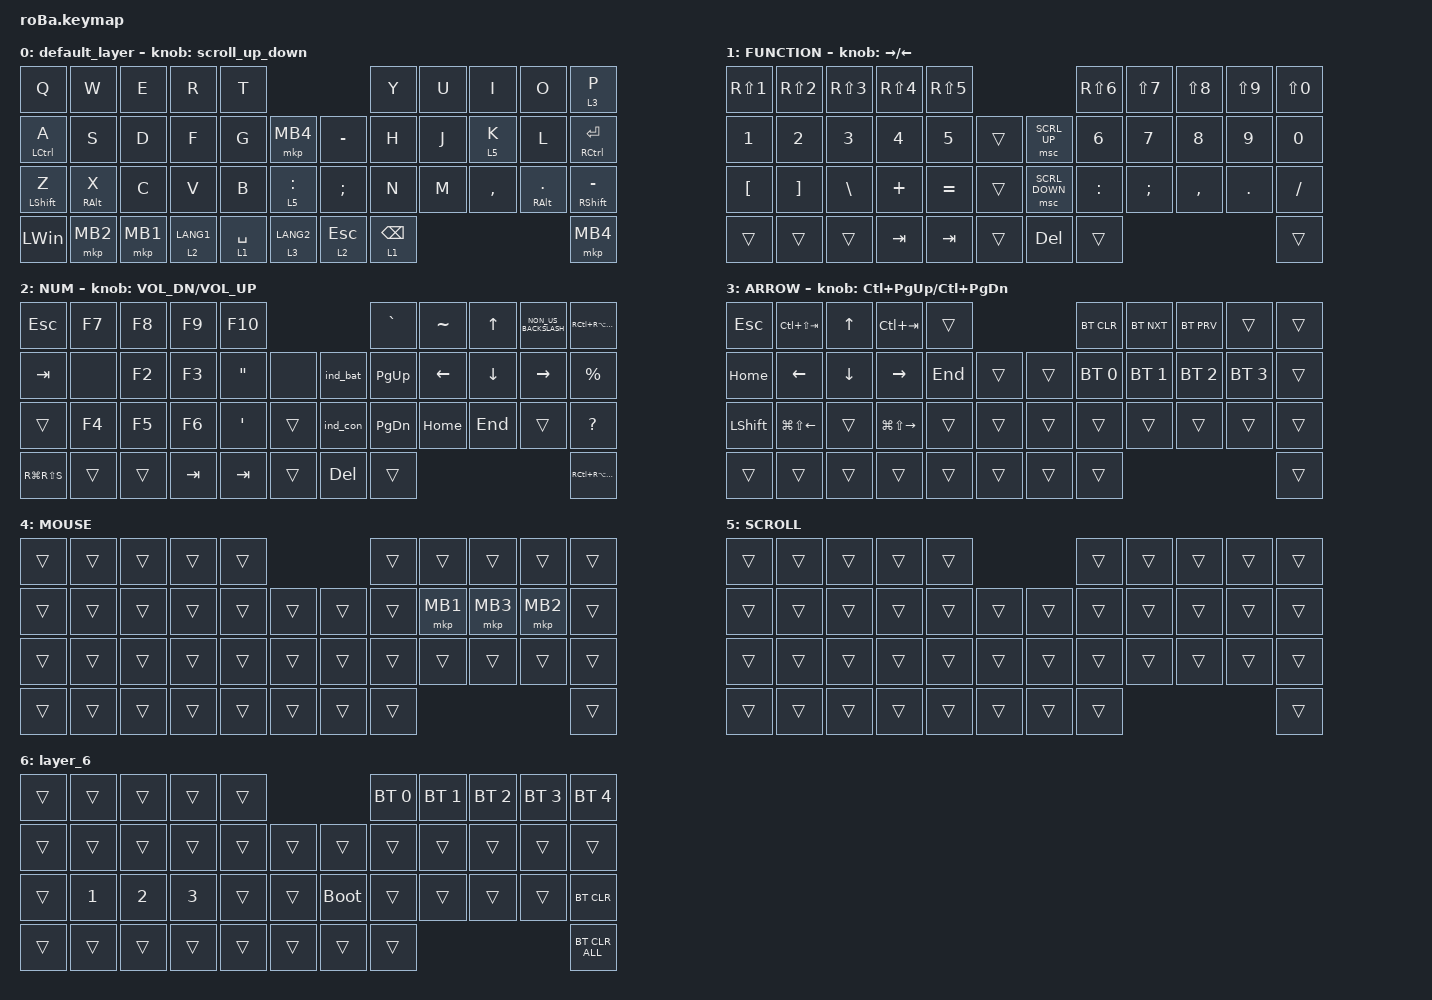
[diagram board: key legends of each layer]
#include <behaviors/rgbled_widget.dtsi>
#include <behaviors.dtsi>
#include <dt-bindings/zmk/bt.h>
#include <dt-bindings/zmk/keys.h>
#include <dt-bindings/zmk/pointing.h>

//#define MOUSE 4

#define SCROLL 5
#define NUM 6
#define ZMK_POINTING_DEFAULT_SCRL_VAL 100

&mt {
    flavor = "tap-preferred";
    quick-tap-ms = <0>;
    tapping-term-ms = <300>;
};

&lt {
};

/ {
    macros {
        to_layer_0: to_layer_0 {
            compatible = "zmk,behavior-macro-one-param";
            #binding-cells = <1>;
            bindings = <&to 0 &macro_param_1to1 &kp MACRO_PLACEHOLDER>;
            label = "TO_LAYER_0";
        };
    };

    behaviors {
        lt_to_layer_0: lt_to_layer_0 {
            compatible = "zmk,behavior-hold-tap";
            label = "LAYER_TAP_TO_0";
            bindings = <&mo>, <&to_layer_0>;

            #binding-cells = <2>;
            tapping-term-ms = <200>;
        };

        scroll_up_down: behavior_sensor_rotate_mouse_wheel_up_down {
            compatible = "zmk,behavior-sensor-rotate";
            #sensor-binding-cells = <0>;
            bindings = <&msc SCRL_DOWN>, <&msc SCRL_UP>;

            // 追加: スクロールのタップ時間を設定 (20ms)

            tap-ms = <20>;
        };
    };

    combos {
        compatible = "zmk,combos";

        mb1 {
            bindings = <&mkp MB1>;
            key-positions = <18 19>;
        };

        mb2 {
            bindings = <&mkp MB2>;
            key-positions = <19 20>;
        };

        mb4 {
            bindings = <&mkp MB4>;
            key-positions = <30 31>;
        };
    };

    keymap {
        compatible = "zmk,keymap";

        default_layer {
            bindings = <
&kp Q             &kp W            &kp E     &kp R        &kp T                                        &kp Y       &kp U  &kp I      &kp O                 &lt 3 P
&mt LCTRL A       &kp S            &kp D     &kp F        &kp G        &mkp MB4         &kp MINUS      &kp H       &kp J  &lt 5 K    &kp L                 &mt RCTRL ENTER
&mt LEFT_SHIFT Z  &mt RIGHT_ALT X  &kp C     &kp V        &kp B        &lt 5 COLON      &kp SEMICOLON  &kp N       &kp M  &kp COMMA  &mt RIGHT_ALT PERIOD  &mt RIGHT_SHIFT MINUS
&kp LEFT_WIN      &mkp MB2         &mkp MB1  &lt 2 LANG1  &lt 1 SPACE  &lt 3 LANG2      &lt 2 ESC      &lt 1 BSPC                                          &mkp MB4
            >;

            sensor-bindings = <&scroll_up_down>;
        };

        FUNCTION {
            bindings = <
&kp RS(NUMBER_1)  &kp RS(NUMBER_2)   &kp RS(NUMBER_3)  &kp RS(NUMBER_4)  &kp RS(N5)                              &kp RS(NUMBER_6)  &kp LS(N7)     &kp LS(N8)  &kp LS(N9)  &kp LS(N0)
&kp NUMBER_1      &kp NUMBER_2       &kp NUMBER_3      &kp NUMBER_4      &kp N5      &trans      &msc SCRL_UP    &kp NUMBER_6      &kp N7         &kp N8      &kp N9      &kp N0
&kp LEFT_BRACKET  &kp RIGHT_BRACKET  &kp BACKSLASH     &kp PLUS          &kp EQUAL   &trans      &msc SCRL_DOWN  &kp COLON         &kp SEMICOLON  &kp COMMA   &kp PERIOD  &kp SLASH
&trans            &trans             &trans            &kp TAB           &kp TAB     &trans      &kp DELETE      &trans                                                   &trans
            >;

            sensor-bindings = <&inc_dec_kp RIGHT_ARROW LEFT_ARROW>;
        };

        NUM {
            bindings = <
&kp ESC        &kp F7  &kp F8  &kp F9   &kp F10                                    &kp GRAVE      &kp TILDE       &kp UP_ARROW    &kp NON_US_BACKSLASH  &kp RC(RA(END))
&kp TAB        &none   &kp F2  &kp F3   &kp DOUBLE_QUOTES  &none       &ind_bat    &kp PG_UP      &kp LEFT_ARROW  &kp DOWN_ARROW  &kp RIGHT_ARROW       &kp PERCENT
&trans         &kp F4  &kp F5  &kp F6   &kp SQT            &trans      &ind_con    &kp PAGE_DOWN  &kp HOME        &kp END         &trans                &kp QUESTION
&kp RG(RS(S))  &trans  &trans  &kp TAB  &kp TAB            &trans      &kp DELETE  &trans                                                               &kp RC(RA(DELETE))
            >;

            sensor-bindings = <&inc_dec_kp C_VOL_DN C_VOL_UP>;
        };

        ARROW {
            bindings = <
&kp ESCAPE      &kp LC(LS(TAB))         &kp UP_ARROW    &kp LC(TAB)              &trans                       &bt BT_CLR    &bt BT_NXT    &bt BT_PRV    &trans        &trans
&kp HOME        &kp LEFT_ARROW          &kp DOWN_ARROW  &kp RIGHT_ARROW          &kp END  &trans      &trans  &bt BT_SEL 0  &bt BT_SEL 1  &bt BT_SEL 2  &bt BT_SEL 3  &trans
&kp LEFT_SHIFT  &kp LG(LS(LEFT_ARROW))  &trans          &kp LG(LS(RIGHT_ARROW))  &trans   &trans      &trans  &trans        &trans        &trans        &trans        &trans
&trans          &trans                  &trans          &trans                   &trans   &trans      &trans  &trans                                                  &trans
            >;

            sensor-bindings = <&inc_dec_kp LC(PAGE_UP) LC(PAGE_DOWN)>;
        };

        MOUSE {
            bindings = <
&trans  &trans  &trans  &trans  &trans                      &trans  &trans    &trans    &trans    &trans
&trans  &trans  &trans  &trans  &trans  &trans      &trans  &trans  &mkp MB1  &mkp MB3  &mkp MB2  &trans
&trans  &trans  &trans  &trans  &trans  &trans      &trans  &trans  &trans    &trans    &trans    &trans
&trans  &trans  &trans  &trans  &trans  &trans      &trans  &trans                                &trans
            >;
        };

        SCROLL {
            bindings = <
&trans  &trans  &trans  &trans  &trans                      &trans  &trans  &trans  &trans  &trans
&trans  &trans  &trans  &trans  &trans  &trans      &trans  &trans  &trans  &trans  &trans  &trans
&trans  &trans  &trans  &trans  &trans  &trans      &trans  &trans  &trans  &trans  &trans  &trans
&trans  &trans  &trans  &trans  &trans  &trans      &trans  &trans                          &trans
            >;
        };

        layer_6 {
            bindings = <
&trans  &trans        &trans        &trans        &trans                           &bt BT_SEL 0  &bt BT_SEL 1  &bt BT_SEL 2  &bt BT_SEL 3  &bt BT_SEL 4
&trans  &trans        &trans        &trans        &trans  &trans      &trans       &trans        &trans        &trans        &trans        &trans
&trans  &kp NUMBER_1  &kp NUMBER_2  &kp NUMBER_3  &trans  &trans      &bootloader  &trans        &trans        &trans        &trans        &bt BT_CLR
&trans  &trans        &trans        &trans        &trans  &trans      &trans       &trans                                                  &bt BT_CLR_ALL
            >;
        };
    };
};
